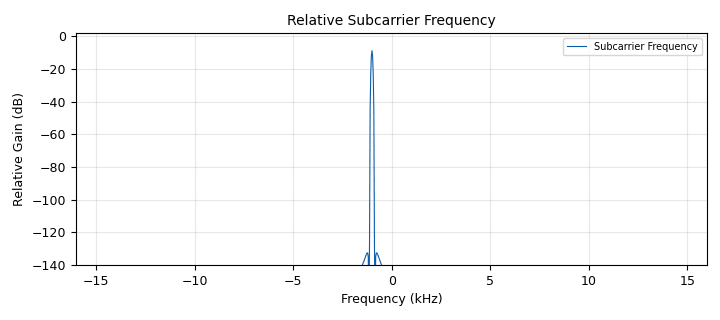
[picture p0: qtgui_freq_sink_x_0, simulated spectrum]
options:
  parameters:
    author: Dhrubjun
    generate_options: qt_gui
    id: exp3
    output_language: python
    title: Demonstrating Subcarrier Orthogonality
  states: {}

blocks:
- name: N
  id: variable
  parameters:
    value: '32'
  states: {}
- name: Tu
  id: variable
  parameters:
    value: N/samp_rate
  states: {}
- name: f2
  id: variable_qtgui_range
  parameters:
    label: Second Subcarrier Frequency
    start: '1000'
    step: '50'
    stop: '3000'
    value: '2000'
  states: {}
- name: samp_rate
  id: variable
  parameters:
    value: '32000'
  states: {}
- name: analog_sig_source_x_0
  id: analog_sig_source_x
  parameters:
    amp: '1'
    freq: '1000'
    offset: '0'
    phase: '0'
    samp_rate: samp_rate
    type: complex
    waveform: analog.GR_COS_WAVE
  states: {}
- name: analog_sig_source_x_0_0
  id: analog_sig_source_x
  parameters:
    amp: '1'
    freq: f2
    offset: '0'
    phase: '0'
    samp_rate: samp_rate
    type: complex
    waveform: analog.GR_COS_WAVE
  states: {}
- name: blocks_complex_to_mag_0
  id: blocks_complex_to_mag
  parameters: {}
  states: {}
- name: blocks_moving_average_xx_0
  id: blocks_moving_average_xx
  parameters:
    length: N
    max_iter: '4000'
    scale: 1/N
    type: complex
  states: {}
- name: blocks_multiply_conjugate_cc_0
  id: blocks_multiply_conjugate_cc
  parameters: {}
  states: {}
- name: blocks_throttle2_0
  id: blocks_throttle2
  parameters:
    samples_per_second: samp_rate
    type: complex
  states: {}
- name: qtgui_freq_sink_x_0
  id: qtgui_freq_sink_x
  parameters:
    bw: samp_rate
    color1: '"red"'
    fc: '0'
    fftsize: '1024'
    grid: 'True'
    label1: Subcarrier Frequency
    name: Relative Subcarrier Frequency
    type: complex
    ymax: '2'
  states: {}
- name: qtgui_number_sink_0
  id: qtgui_number_sink
  parameters:
    graph_type: qtgui.NUM_GRAPH_HORIZ
    label1: Correlation Magnitude
    name: Subcarrier Correlation Magnitude
    type: float
  states: {}

connections:
- [analog_sig_source_x_0, '0', blocks_throttle2_0, '0']
- [analog_sig_source_x_0_0, '0', blocks_multiply_conjugate_cc_0, '1']
- [blocks_complex_to_mag_0, '0', qtgui_number_sink_0, '0']
- [blocks_moving_average_xx_0, '0', blocks_complex_to_mag_0, '0']
- [blocks_multiply_conjugate_cc_0, '0', blocks_moving_average_xx_0, '0']
- [blocks_multiply_conjugate_cc_0, '0', qtgui_freq_sink_x_0, '0']
- [blocks_throttle2_0, '0', blocks_multiply_conjugate_cc_0, '0']

metadata:
  file_format: 1
  grc_version: 3.10.12.0
